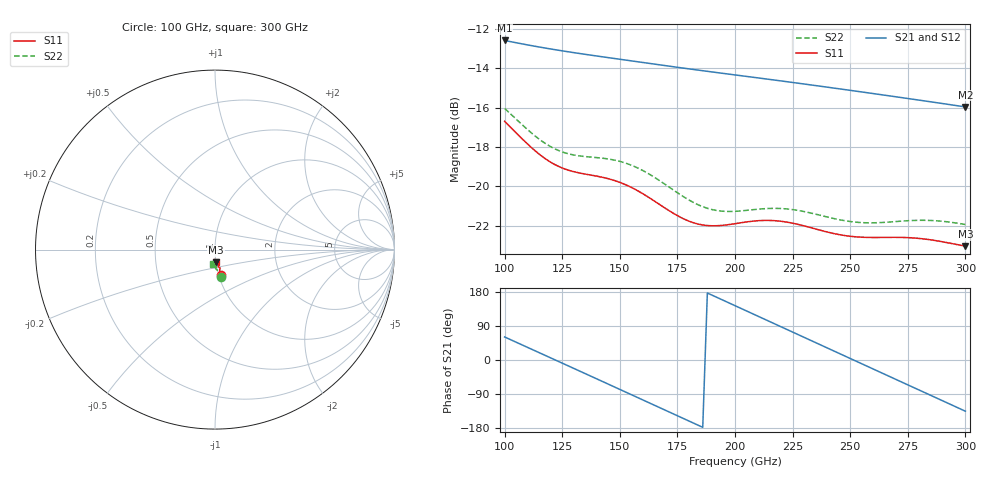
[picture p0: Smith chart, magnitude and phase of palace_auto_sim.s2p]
#  GHZ S DB R 50
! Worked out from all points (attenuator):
!   101 points, 100 GHz to 300 GHz, reference 50 ohm
!   highest |S21| = -12.60 dB at 100 GHz (marker M1); lowest = -16.0 dB at 300 GHz (marker M2)
!   lowest |S11| = -23.0 dB at 300 GHz (marker M3), VSWR 1.15, Z = 50.1 - j7.08 ohm
!   |S11| at or under -10 dB: start of sweep to end of sweep
!   |S22| runs from -21.9 to -16.0 dB; largest |S21 - S12| = 1.9e-13
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100  -16.70 -76.5  -12.60 60.8  -12.60 60.8  -16.04 -78.6
110  -17.85 -77.8  -12.82 33.2  -12.82 33.2  -17.12 -80.7
118  -18.62 -76.9  -12.99 11.1  -12.99 11.1  -17.85 -80.4
126  -19.11 -75.4  -13.14 -11.0  -13.14 -11.0  -18.29 -79.4
134  -19.35 -74.7  -13.28 -33.2  -13.28 -33.2  -18.47 -79.2
144  -19.58 -75.6  -13.45 -60.9  -13.45 -60.9  -18.59 -80.9
152  -19.89 -77.4  -13.58 -83.1  -13.58 -83.1  -18.80 -83.5
160  -20.37 -79.1  -13.71 -105.4  -13.71 -105.4  -19.19 -86.4
168  -20.97 -79.6  -13.84 -127.6  -13.84 -127.6  -19.76 -88.5
176  -21.54 -78.6  -13.97 -149.9  -13.97 -149.9  -20.40 -89.1
184  -21.91 -76.5  -14.10 -172.1  -14.10 -172.1  -20.93 -88.2
192  -21.99 -74.4  -14.22 165.6  -14.22 165.6  -21.22 -86.5
200  -21.89 -73.4  -14.34 143.4  -14.34 143.4  -21.26 -85.2
210  -21.74 -74.2  -14.50 115.5  -14.50 115.5  -21.15 -85.4
218  -21.74 -75.9  -14.62 93.2  -14.62 93.2  -21.11 -86.7
226  -21.89 -77.6  -14.74 70.9  -14.74 70.9  -21.19 -88.5
234  -22.13 -78.8  -14.87 48.6  -14.87 48.6  -21.38 -90.1
250  -22.53 -79.3  -15.13 4.0  -15.13 4.0  -21.78 -91.3
258  -22.59 -79.4  -15.26 -18.2  -15.26 -18.2  -21.85 -91.4
268  -22.58 -80.2  -15.42 -46.1  -15.42 -46.1  -21.80 -92.1
284  -22.69 -83.0  -15.69 -90.6  -15.69 -90.6  -21.72 -95.4
300  -23.03 -85.5  -15.97 -135.1  -15.97 -135.1  -21.93 -99.3
